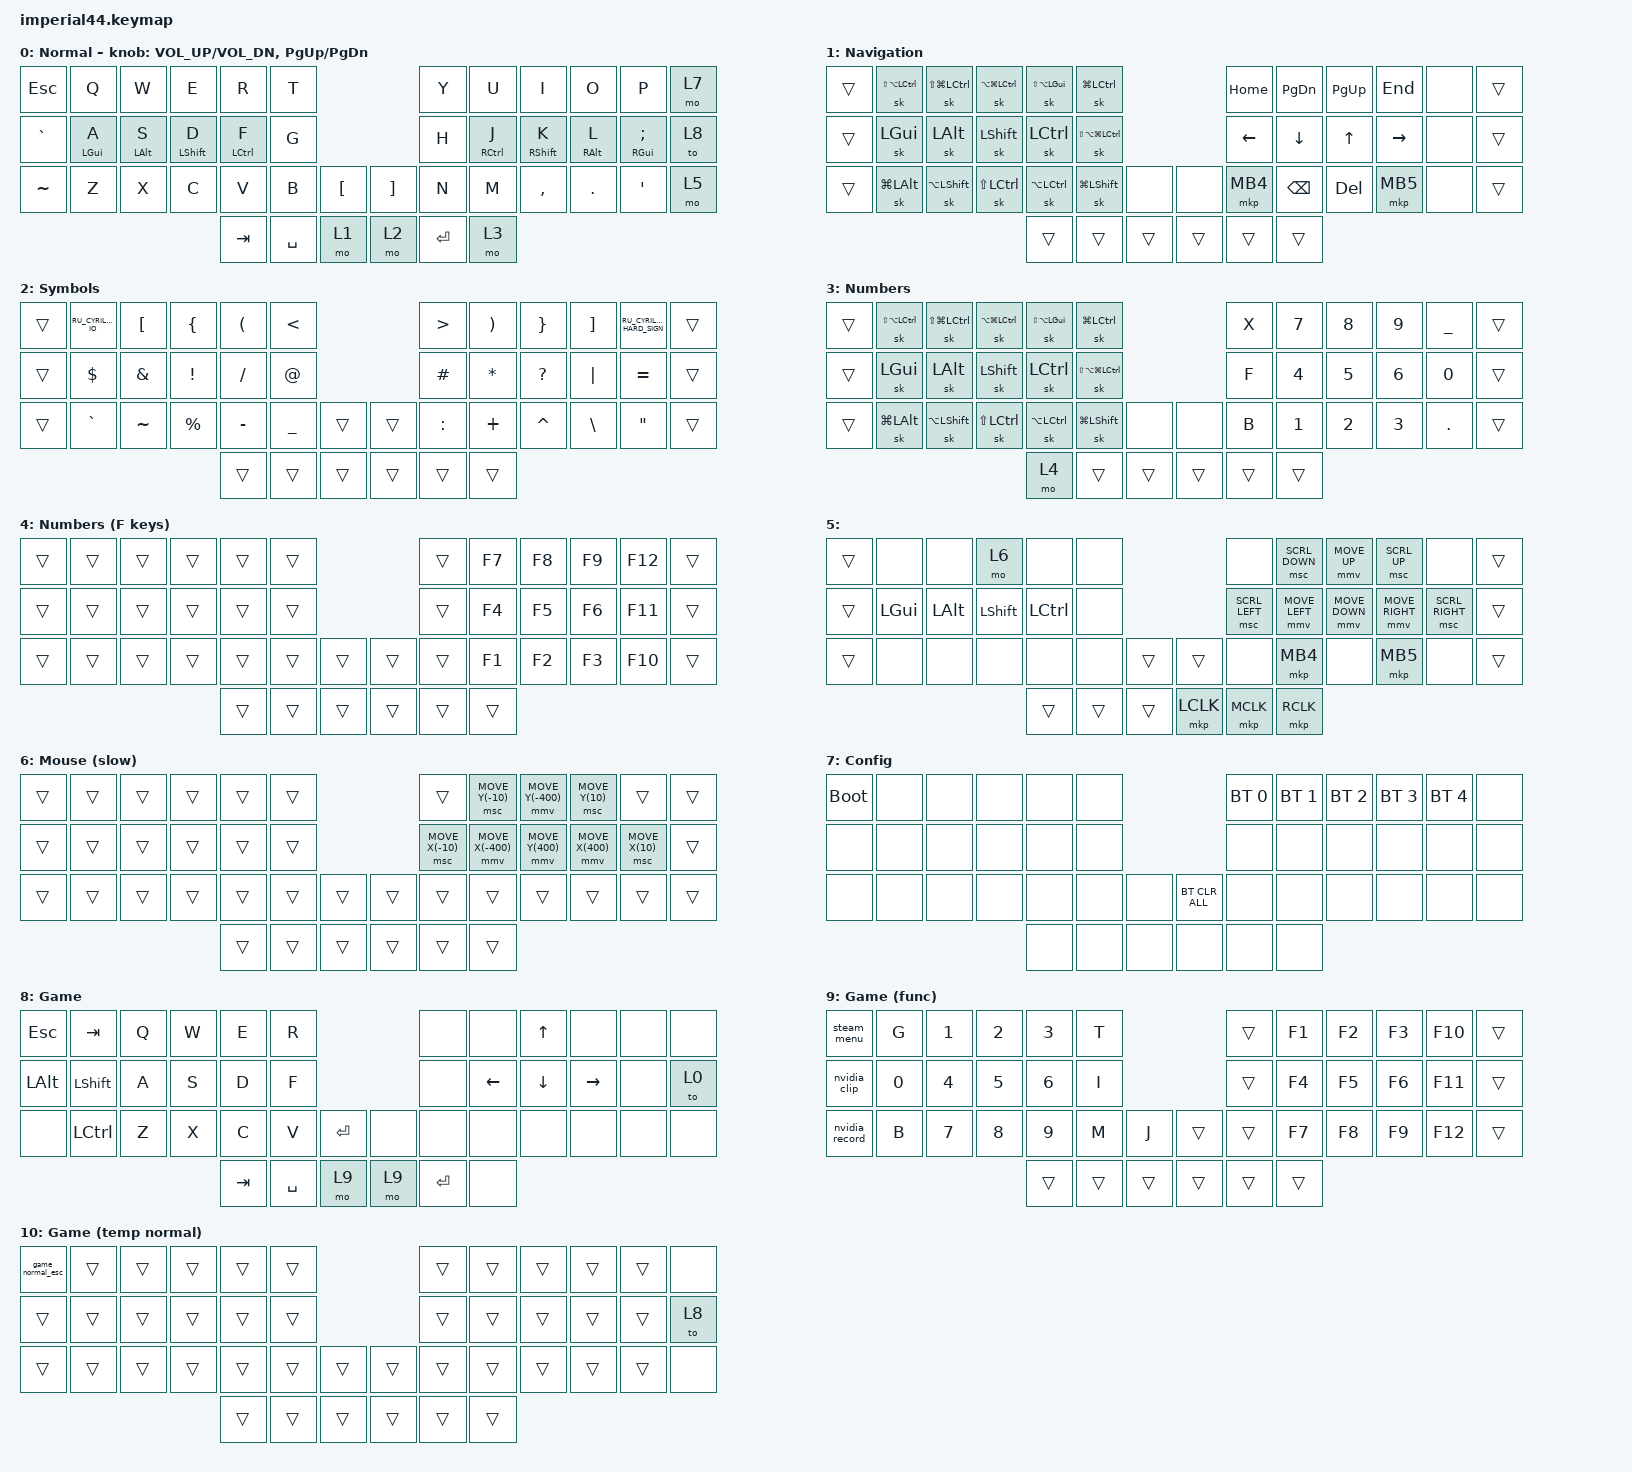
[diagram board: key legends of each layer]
#include "keys_ru.h"

#define ZMK_POINTING_DEFAULT_MOVE_VAL 1200  // default: 600
#define ZMK_POINTING_DEFAULT_SCRL_VAL 20    // default: 10

#include <behaviors.dtsi>
#include <dt-bindings/zmk/bt.h>
#include <dt-bindings/zmk/keys.h>
#include <dt-bindings/zmk/pointing.h>

&lt {
    flavor = "hold-preferred";
    tapping-term-ms = <175>;
};

&mt {
    flavor = "tap-preferred";
    tapping-term-ms = <175>;
};

&mmv {
    acceleration-exponent = <0>;
    time-to-max-speed-ms = <150>;
};

&msc {
    acceleration-exponent = <0>;
    time-to-max-speed-ms = <150>;
};

/ {
    behaviors {
        hrm_l: hrm_l {
            compatible = "zmk,behavior-hold-tap";
            label = "HRM_L";
            bindings = <&kp>, <&kp>;

            #binding-cells = <2>;
            tapping-term-ms = <280>;
            quick-tap-ms = <175>;
            require-prior-idle-ms = <25>;
            flavor = "balanced";
            hold-trigger-on-release;
            hold-trigger-key-positions = <6 7 8 9 19 20 21 6 7 8 9 10 11 18 19 20 21 22 23 31 32 33 34 35 36 37 41 42 43 38 39 40>;
        };

        hrm_r: hrm_r {
            compatible = "zmk,behavior-hold-tap";
            label = "HRM_R";
            bindings = <&kp>, <&kp>;

            #binding-cells = <2>;
            tapping-term-ms = <280>;
            quick-tap-ms = <175>;
            require-prior-idle-ms = <25>;
            flavor = "balanced";
            hold-trigger-on-release;
            hold-trigger-key-positions = <0 1 2 4 5 12 13 14 15 16 17 24 25 26 27 28 29 30 38 39 40 3 41 42 43>;
        };
    };

    combos {
        compatible = "zmk,combos";

        caps {
            bindings = <&kp CAPSLOCK>;
            key-positions = <25 26>;
            layers = <0 10>;
        };

        lang_switch {
            bindings = <&kp LG(SPACE)>;
            key-positions = <28 27>;
            layers = <0 10>;
        };

        backspace {
            bindings = <&kp BACKSPACE>;
            key-positions = <33 34>;
            layers = <0 10>;
        };

        delete {
            bindings = <&kp DELETE>;
            key-positions = <35 36>;
            layers = <0 10>;
        };
    };

    macros {
        steam_menu: steam_menu {
            compatible = "zmk,behavior-macro";
            #binding-cells = <0>;
            bindings = <&kp LS(TAB) &to 10>;
            label = "STEAM_MENU";
        };

        nvidia_record: nvidia_record {
            compatible = "zmk,behavior-macro";
            #binding-cells = <0>;
            bindings = <&kp LA(F9)>;
            label = "NVIDIA_RECORD";
        };

        nvidia_clip: nvidia_clip {
            compatible = "zmk,behavior-macro";
            #binding-cells = <0>;
            bindings = <&kp LA(F10)>;
            label = "NVIDIA_CLIP";
        };

        game_normal_esc: game_normal_esc {
            compatible = "zmk,behavior-macro";
            #binding-cells = <0>;
            bindings = <&kp ESC &to 8>;
            label = "GAME_NORMAL_ESC";
        };
    };

    keymap {
        compatible = "zmk,keymap";

        normal {
            bindings = <
&kp ESC    &kp Q          &kp W          &kp E           &kp R           &kp T                            &kp Y      &kp U           &kp I           &kp O          &kp P                  &mo 7
&kp GRAVE  &hrm_l LGUI A  &hrm_l LALT S  &hrm_l LSHFT D  &hrm_l LCTRL F  &kp G                            &kp H      &hrm_r RCTRL J  &hrm_r RSHFT K  &hrm_r RALT L  &hrm_r RIGHT_GUI SEMI  &to 8
&kp TILDE  &kp Z          &kp X          &kp C           &kp V           &kp B      &kp LBKT    &kp RBKT  &kp N      &kp M           &kp COMMA       &kp DOT        &kp SQT                &mo 5
                                                         &kp TAB         &kp SPACE  &mo 1       &mo 2     &kp ENTER  &mo 3
            >;

            display-name = "Normal";
            sensor-bindings =
                <&inc_dec_kp C_VOL_UP C_VOL_DN>,
                <&inc_dec_kp PG_UP PG_DN>;

            label = "Normal";
        };

        navigation {
            bindings = <
&trans  &sk LS(LA(LCTRL))  &sk LS(LG(LCTRL))   &sk LA(LG(LCTRL))  &sk LS(LA(LGUI))  &sk LG(LCTRL)                            &kp HOME        &kp PAGE_DOWN   &kp PAGE_UP   &kp END          &none  &trans
&trans  &sk LGUI           &sk LALT            &sk LSHFT          &sk LCTRL         &sk LS(LA(LG(LCTRL)))                    &kp LEFT_ARROW  &kp DOWN_ARROW  &kp UP_ARROW  &kp RIGHT_ARROW  &none  &trans
&trans  &sk LG(LEFT_ALT)   &sk LA(LEFT_SHIFT)  &sk LS(LCTRL)      &sk LA(LCTRL)     &sk LG(LEFT_SHIFT)     &none     &none   &mkp MB4        &kp BACKSPACE   &kp DELETE    &mkp MB5         &none  &trans
                                                                  &trans            &trans                 &trans    &trans  &trans          &trans
            >;

            label = "Navigation";
        };

        symbols {
            bindings = <
&trans  &kp RU_CYRILLIC_IO  &kp LEFT_BRACKET  &kp LEFT_BRACE  &kp LEFT_PARENTHESIS  &kp LESS_THAN                    &kp GREATER_THAN  &kp RIGHT_PARENTHESIS  &kp RIGHT_BRACE  &kp RIGHT_BRACKET  &kp RU_CYRILLIC_HARD_SIGN  &trans
&trans  &kp DOLLAR          &kp AMPS          &kp EXCL        &kp SLASH             &kp AT_SIGN                      &kp POUND         &kp ASTERISK           &kp QUESTION     &kp PIPE           &kp EQUAL                  &trans
&trans  &kp GRAVE           &kp TILDE         &kp PERCENT     &kp MINUS             &kp UNDER      &trans    &trans  &kp COLON         &kp PLUS               &kp CARET        &kp BSLH           &kp DOUBLE_QUOTES          &trans
                                                              &trans                &trans         &trans    &trans  &trans            &trans
            >;

            display-name = "Symbols";
            label = "Symbols";
        };

        numbers {
            bindings = <
&trans  &sk LS(LA(LCTRL))  &sk LS(LG(LCTRL))   &sk LA(LG(LCTRL))  &sk LS(LA(LEFT_GUI))  &sk LG(LCTRL)                            &kp X   &kp N7  &kp N8  &kp N9  &kp UNDER  &trans
&trans  &sk LGUI           &sk LALT            &sk LSHFT          &sk LCTRL             &sk LS(LA(LG(LCTRL)))                    &kp F   &kp N4  &kp N5  &kp N6  &kp N0     &trans
&trans  &sk LG(LEFT_ALT)   &sk LA(LEFT_SHIFT)  &sk LS(LCTRL)      &sk LA(LCTRL)         &sk LG(LEFT_SHIFT)     &none     &none   &kp B   &kp N1  &kp N2  &kp N3  &kp DOT    &trans
                                                                  &mo 4                 &trans                 &trans    &trans  &trans  &trans
            >;

            label = "Numbers";
        };

        numbers-f {
            bindings = <
&trans  &trans  &trans  &trans  &trans  &trans                    &trans  &kp F7  &kp F8  &kp F9  &kp F12  &trans
&trans  &trans  &trans  &trans  &trans  &trans                    &trans  &kp F4  &kp F5  &kp F6  &kp F11  &trans
&trans  &trans  &trans  &trans  &trans  &trans  &trans    &trans  &trans  &kp F1  &kp F2  &kp F3  &kp F10  &trans
                                &trans  &trans  &trans    &trans  &trans  &trans
            >;

            label = "Numbers (F keys)";
        };

        mouse {
            bindings = <
&trans  &none     &none     &mo 6      &none      &none                        &none           &msc SCRL_DOWN  &mmv MOVE_UP    &msc SCRL_UP     &none            &trans
&trans  &kp LGUI  &kp LALT  &kp LSHFT  &kp LCTRL  &none                        &msc SCRL_LEFT  &mmv MOVE_LEFT  &mmv MOVE_DOWN  &mmv MOVE_RIGHT  &msc SCRL_RIGHT  &trans
&trans  &none     &none     &none      &none      &none   &trans    &trans     &none           &mkp MB4        &none           &mkp MB5         &none            &trans
                                       &trans     &trans  &trans    &mkp LCLK  &mkp MCLK       &mkp RCLK
            >;

            display-name = " ";
            label = "Mouse";
        };

        mouse-s {
            bindings = <
&trans  &trans  &trans  &trans  &trans  &trans                    &trans            &msc MOVE_Y(-10)   &mmv MOVE_Y(-400)  &msc MOVE_Y(10)   &trans           &trans
&trans  &trans  &trans  &trans  &trans  &trans                    &msc MOVE_X(-10)  &mmv MOVE_X(-400)  &mmv MOVE_Y(400)   &mmv MOVE_X(400)  &msc MOVE_X(10)  &trans
&trans  &trans  &trans  &trans  &trans  &trans  &trans    &trans  &trans            &trans             &trans             &trans            &trans           &trans
                                &trans  &trans  &trans    &trans  &trans            &trans
            >;

            label = "Mouse (slow)";
        };

        config {
            bindings = <
&bootloader  &none  &none  &none  &none  &none                           &bt BT_SEL 0  &bt BT_SEL 1  &bt BT_SEL 2  &bt BT_SEL 3  &bt BT_SEL 4  &none
&none        &none  &none  &none  &none  &none                           &none         &none         &none         &none         &none         &none
&none        &none  &none  &none  &none  &none  &none    &bt BT_CLR_ALL  &none         &none         &none         &none         &none         &none
                                  &none  &none  &none    &none           &none         &none
            >;

            label = "Config";
        };

        game {
            bindings = <
&kp ESC       &kp TAB    &kp Q  &kp W  &kp E    &kp R                          &none      &none           &kp UP_ARROW    &none            &none  &none
&kp LEFT_ALT  &kp LSHFT  &kp A  &kp S  &kp D    &kp F                          &none      &kp LEFT_ARROW  &kp DOWN_ARROW  &kp RIGHT_ARROW  &none  &to 0
&none         &kp LCTRL  &kp Z  &kp X  &kp C    &kp V      &kp ENTER    &none  &none      &none           &none           &none            &none  &none
                                       &kp TAB  &kp SPACE  &mo 9        &mo 9  &kp ENTER  &none
            >;

            label = "Game";
        };

        game-f {
            bindings = <
&steam_menu     &kp G   &kp N1  &kp N2  &kp N3  &kp T                     &trans  &kp F1  &kp F2  &kp F3  &kp F10  &trans
&nvidia_clip    &kp N0  &kp N4  &kp N5  &kp N6  &kp I                     &trans  &kp F4  &kp F5  &kp F6  &kp F11  &trans
&nvidia_record  &kp B   &kp N7  &kp N8  &kp N9  &kp M   &kp J     &trans  &trans  &kp F7  &kp F8  &kp F9  &kp F12  &trans
                                        &trans  &trans  &trans    &trans  &trans  &trans
            >;

            label = "Game (func)";
        };

        game-normal {
            bindings = <
&game_normal_esc  &trans  &trans  &trans  &trans  &trans                    &trans  &trans  &trans  &trans  &trans  &none
&trans            &trans  &trans  &trans  &trans  &trans                    &trans  &trans  &trans  &trans  &trans  &to 8
&trans            &trans  &trans  &trans  &trans  &trans  &trans    &trans  &trans  &trans  &trans  &trans  &trans  &none
                                          &trans  &trans  &trans    &trans  &trans  &trans
            >;

            label = "Game (temp normal)";
        };
    };
};
